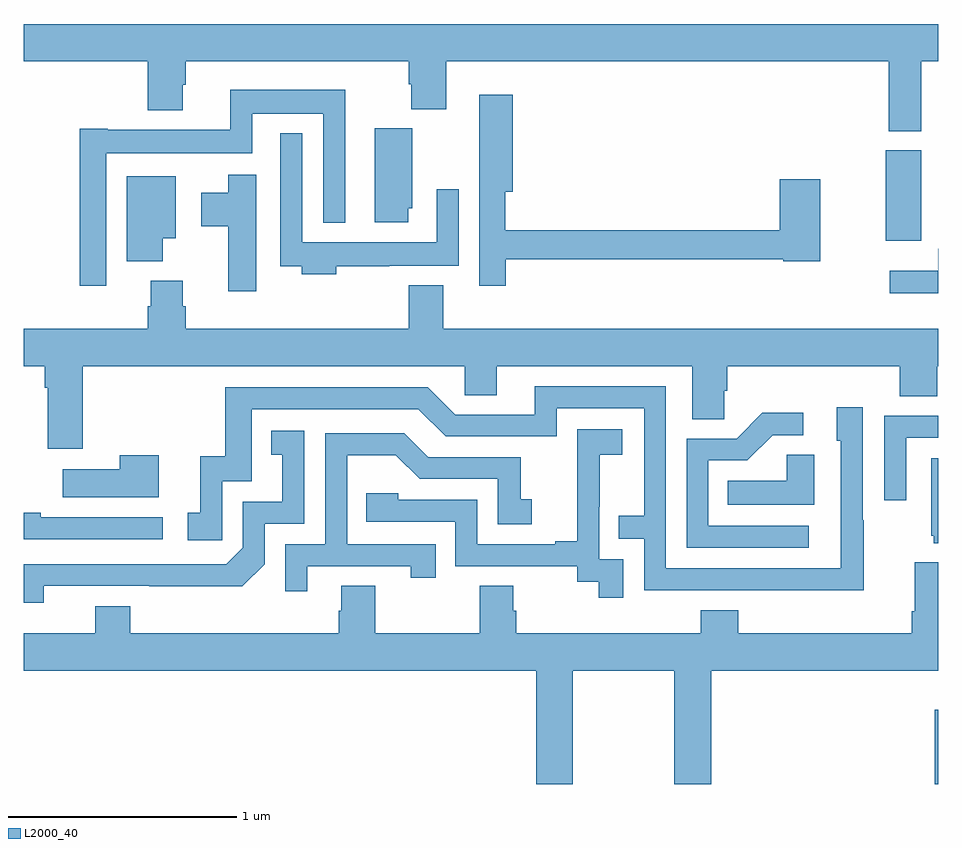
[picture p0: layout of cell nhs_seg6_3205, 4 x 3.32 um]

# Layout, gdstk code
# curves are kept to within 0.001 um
import gdstk
lib = gdstk.Library(unit=1e-6, precision=1e-09)
def R(c, l, rs):  # rectangles x0, y0, x1, y1
    for r in rs: c.add(gdstk.rectangle(r[:2], r[2:], *l))
def P(c, l, *ps):  # polygons
    for p in ps: c.add(gdstk.Polygon(p, *l))
L2000_40 = (2000, 40)

nhs_seg6_3205 = lib.new_cell('nhs_seg6_3205')
R(nhs_seg6_3205, L2000_40, [(302.984,953.5,303,953.824)])
P(nhs_seg6_3205, L2000_40, [(299,956.66),(299.543,956.66),(299.543,956.447),(299.695,956.447),(299.695,956.559),(299.708,956.559),(299.708,956.66),(300.683,956.66),(300.683,956.561),(300.695,956.561),(300.695,956.452),(300.848,956.452),(300.848,956.66),(302.783,956.66),(302.783,956.356),(302.926,956.356),(302.926,956.66),(303,956.66),(303,956.824),(299,956.824)],
  [(299.361,956.258),(300,956.258),(300,956.432),(300.309,956.432),(300.309,955.955),(300.406,955.955),(300.406,956.536),(299.903,956.536),(299.903,956.362),(299.368,956.362),(299.368,956.365),(299.245,956.365),(299.245,955.68),(299.361,955.68)],
  [(301.109,955.794),(302.322,955.794),(302.322,955.786),(302.484,955.786),(302.484,956.146),(302.306,956.146),(302.306,955.922),(301.105,955.922),(301.105,956.09),(301.139,956.09),(301.139,956.515),(300.992,956.515),(300.992,956.194),(300.993,956.194),(300.993,955.68),(301.109,955.68)],
  [(300.682,956.019),(300.7,956.019),(300.7,956.367),(300.536,956.367),(300.536,955.956),(300.682,955.956)],
  [(300.368,955.764),(300.599,955.764),(300.599,955.766),(300.903,955.766),(300.903,956.101),(300.807,956.101),(300.807,955.87),(300.219,955.87),(300.219,956.347),(300.123,956.347),(300.123,955.764),(300.215,955.764),(300.215,955.73),(300.368,955.73)],
  [(302.925,955.987),(302.926,955.987),(302.926,956.271),(302.77,956.271),(302.77,955.875),(302.925,955.875)],
  [(300.016,956.164),(299.894,956.164),(299.894,956.086),(299.777,956.086),(299.777,955.939),(299.894,955.939),(299.894,955.656),(300.016,955.656)],
  [(299.608,955.886),(299.665,955.886),(299.665,956.158),(299.45,956.158),(299.45,955.787),(299.608,955.787)],
  [(303,955.84),(302.999,955.84),(302.999,955.744),(302.787,955.744),(302.787,955.646),(303,955.646)],
  [(299.555,955.702),(299.555,955.59),(299.543,955.59),(299.543,955.492),(299,955.492),(299,955.328),(299.093,955.328),(299.093,955.232),(299.105,955.232),(299.105,954.966),(299.258,954.966),(299.258,955.328),(300.93,955.328),(300.93,955.201),(301.069,955.201),(301.069,955.328),(301.925,955.328),(301.925,955.096),(302.064,955.096),(302.064,955.219),(302.078,955.219),(302.078,955.328),(302.831,955.328),(302.831,955.195),(302.996,955.195),(302.996,955.328),(303,955.328),(303,955.492),(300.835,955.492),(300.835,955.681),(300.683,955.681),(300.683,955.492),(299.708,955.492),(299.708,955.59),(299.695,955.59),(299.695,955.702)],
  [(302.673,954.653),(302.67,954.653),(302.67,955.147),(302.555,955.147),(302.555,955.002),(302.574,955.002),(302.574,954.444),(301.809,954.444),(301.809,955.239),(301.235,955.239),(301.235,955.116),(300.888,955.116),(300.768,955.236),(299.881,955.236),(299.881,954.934),(299.771,954.934),(299.771,954.687),(299.718,954.687),(299.718,954.567),(299.868,954.567),(299.868,954.825),(299.997,954.825),(299.997,955.14),(300.726,955.14),(300.846,955.02),(301.332,955.02),(301.332,955.143),(301.713,955.143),(301.713,954.674),(301.603,954.674),(301.603,954.573),(301.713,954.573),(301.713,954.348),(302.673,954.347)],
  [(302.434,954.63),(301.995,954.63),(301.995,954.915),(302.164,954.915),(302.275,955.026),(302.41,955.026),(302.41,955.124),(302.231,955.124),(302.118,955.011),(301.899,955.011),(301.899,954.534),(302.434,954.534)],
  [(302.859,955.014),(303,955.014),(303,955.11),(302.763,955.11),(302.763,954.741),(302.859,954.741)],
  [(301.623,954.483),(301.518,954.483),(301.518,954.713),(301.52,954.713),(301.52,954.941),(301.618,954.941),(301.618,955.051),(301.42,955.051),(301.42,954.845),(301.421,954.845),(301.421,954.562),(301.325,954.562),(301.325,954.549),(300.984,954.549),(300.984,954.744),(300.639,954.744),(300.639,954.771),(300.499,954.771),(300.499,954.648),(300.888,954.648),(300.888,954.453),(301.422,954.453),(301.422,954.385),(301.515,954.385),(301.515,954.315),(301.623,954.315)],
  [(299.088,954.366),(299.956,954.365),(300.054,954.462),(300.054,954.639),(300.228,954.639),(300.228,955.045),(300.082,955.045),(300.082,954.939),(300.131,954.939),(300.131,954.735),(299.958,954.735),(299.958,954.534),(299.886,954.462),(299,954.462),(299,954.293),(299.088,954.293)],
  [(300.241,954.453),(300.692,954.453),(300.692,954.402),(300.803,954.402),(300.803,954.549),(300.414,954.549),(300.414,954.938),(300.628,954.938),(300.732,954.834),(301.074,954.834),(301.074,954.636),(301.222,954.636),(301.222,954.745),(301.173,954.745),(301.173,954.93),(300.769,954.93),(300.664,955.035),(300.318,955.035),(300.318,954.549),(300.144,954.549),(300.144,954.342),(300.241,954.342)],
  [(302.458,954.941),(302.337,954.941),(302.337,954.826),(302.08,954.826),(302.08,954.722),(302.458,954.722)],
  [(299.59,954.937),(299.42,954.937),(299.42,954.877),(299.171,954.877),(299.171,954.755),(299.59,954.755)],
  [(303,954.925),(302.969,954.925),(302.969,954.585),(302.981,954.585),(302.981,954.554),(303,954.554)],
  [(299.608,954.666),(299.075,954.666),(299.075,954.686),(299,954.686),(299,954.57),(299.608,954.57)],
  [(301.401,953.996),(301.846,953.996),(301.846,953.5),(302.006,953.5),(302.006,953.996),(303,953.996),(303,954.469),(302.897,954.469),(302.897,954.256),(302.885,954.256),(302.885,954.16),(302.126,954.16),(302.126,954.259),(301.961,954.259),(301.961,954.16),(301.154,954.16),(301.154,954.258),(301.141,954.258),(301.141,954.368),(300.994,954.368),(300.994,954.16),(300.537,954.16),(300.537,954.368),(300.389,954.368),(300.389,954.258),(300.377,954.258),(300.377,954.16),(299.465,954.16),(299.465,954.277),(299.312,954.277),(299.312,954.16),(299,954.16),(299,953.996),(301.241,953.996),(301.241,953.5),(301.401,953.5)])

lib.write_gds('nhs_seg6_3205.gds')
